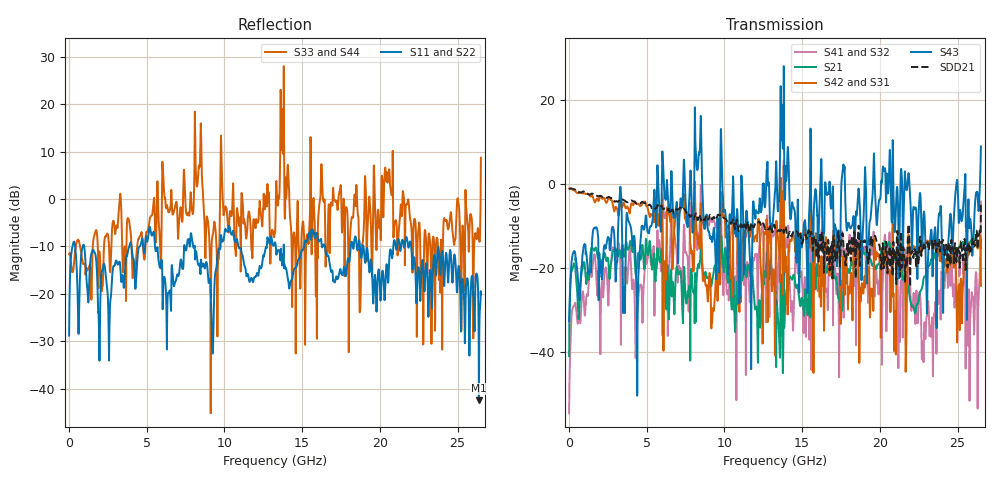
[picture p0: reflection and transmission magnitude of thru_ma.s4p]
! Created with skrf (http://scikit-rf.org).
# Hz S MA R 50.0
!freq magS11 angS11 magS12 angS12 magS13 angS13
! magS14 angS14
! magS21 angS21 magS22 angS22 magS23 angS23
! magS24 angS24
! magS31 angS31 magS32 angS32 magS33 angS33
! magS34 angS34
! magS41 angS41 magS42 angS42 magS43 angS43
! magS44 angS44
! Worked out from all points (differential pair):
!   2650 points, 10 MHz to 26.5 GHz, reference 50 ohm
!   strongest paths, dB at 10 MHz, 6.63 GHz, 13.26 GHz, 19.88 GHz, 26.5 GHz:
!     S43: -32.7, -1.1, -1.8, -6.1, 8.9
!     S42: -1.1, -16.5, -34.4, -16.6, -24.2
!     S31: -1.1, -16.5, -34.4, -16.6, -24.2
!     S21: -40.9, -24.9, -23.5, -19.2, -13.3
!     S41: -54.5, -3.9, -10.2, -25.2, -4.2
!     S32: -54.5, -3.9, -10.2, -25.2, -4.2
!   taken as a pair (ports 2,1 in; 4,3 out), SDD21 dB: -1.1, -6.1, -10.4, -14.3, -4.5
!   lowest |S11| = -42.4 dB at 26.37 GHz (marker M1), VSWR 1.02, Z = 50.7 - j0.168 ohm
!   |S11| at or under -10 dB: 980.5 MHz to 3.882 GHz (2.902 GHz wide, 119 % of centre); 18.94 GHz to 20.87 GHz (1.923 GHz wide, 9.66 % of centre); 22.02 GHz to end of sweep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
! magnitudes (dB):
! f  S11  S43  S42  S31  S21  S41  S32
! 10 MHz  -28.8  -32.7  -1.1  -1.1  -40.9  -54.5  -54.5
! 6.13 GHz  -16.4  -1.8  -19.2  -19.2  -19.3  -7.9  -7.9
! 11.67 GHz  -17.2  -19.5  -11.9  -11.9  -21.6  -27.5  -27.5
! 13.71 GHz  -14.0  18.7  -3.9  -3.9  -26.7  -3.1  -3.1
! 14.9 GHz  -11.7  -13.5  -11.7  -11.7  -29.1  -22.2  -22.2
! 26.37 GHz  -42.4  -6.1  -14.1  -14.1  -14.0  -26.5  -26.5
! 26.5 GHz  -20.1  8.9  -24.2  -24.2  -13.3  -4.2  -4.2
